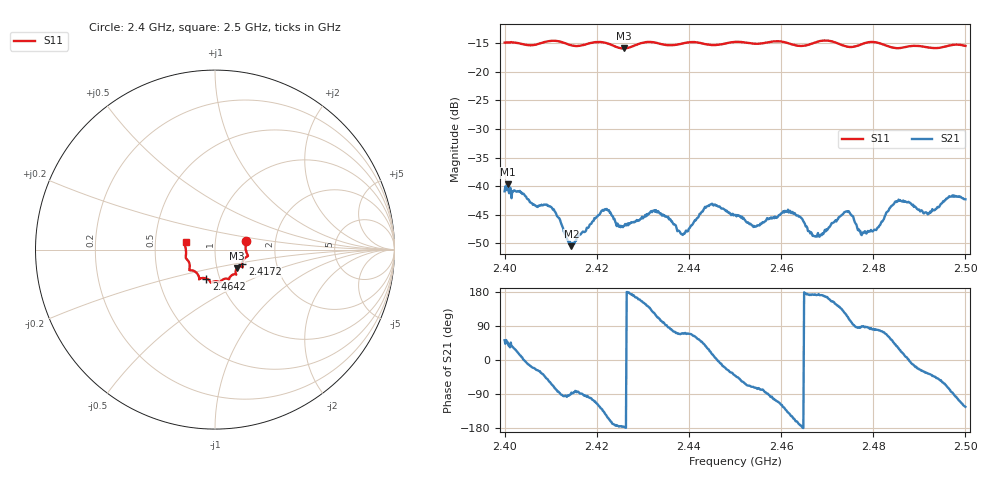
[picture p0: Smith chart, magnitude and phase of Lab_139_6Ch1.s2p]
# Hz S RI R 50
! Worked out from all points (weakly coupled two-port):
!   601 points, 2.4 GHz to 2.5 GHz, reference 50 ohm
!   highest |S21| = -39.68 dB at 2.4007 GHz (marker M1); lowest = -50.5 dB at 2.4145 GHz (marker M2)
!   lowest |S11| = -15.9 dB at 2.4258 GHz (marker M3), VSWR 1.38, Z = 62.3 - j13.3 ohm
!   |S11| at or under -10 dB: start of sweep to end of sweep
!   S12 and S22 are empty: the file has one direction only
!   S11 on the Smith chart (normalised r, x): 2.4 GHz: 1.41, +0.14; 2.4172 GHz: 1.34, -0.22; 2.4642 GHz: 0.86, -0.29; 2.5 GHz: 0.72, +0.06
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2.4e9  0.1734 0.049  0.00554 0.0071  0 0  0 0
2.400667e9  0.175 0.0453  0.0071 0.00757  0 0  0 0
2.410167e9  0.1838 -0.0338  0.00289 -0.00586  0 0  0 0
2.4145e9  0.1629 -0.0509  0.000196 -0.00298  0 0  0 0
2.416667e9  0.1529 -0.0742  9.54e-05 -0.00386  0 0  0 0
2.417167e9  0.1521 -0.08  -0.000213 -0.00396  0 0  0 0
2.421667e9  0.1529 -0.0958  -0.0047 -0.0041  0 0  0 0
2.425833e9  0.122 -0.1039  -0.00447 -0.000331  0 0  0 0
2.433333e9  0.1128 -0.1373  -0.00228 0.0056  0 0  0 0
2.438667e9  0.0808 -0.1578  0.00124 0.00353  0 0  0 0
2.4445e9  0.0596 -0.1615  0.00629 0.00273  0 0  0 0
2.45e9  0.0285 -0.1807  0.00419 -0.00368  0 0  0 0
2.454167e9  0.00893 -0.1762  0.00133 -0.00428  0 0  0 0
2.461e9  -0.0265 -0.1787  -0.00394 -0.00448  0 0  0 0
2.464167e9  -0.048 -0.1616  -0.00533 -0.000705  0 0  0 0
2.466667e9  -0.0763 -0.1592  -0.00383 0.000504  0 0  0 0
2.474167e9  -0.0987 -0.1342  -0.00291 0.00527  0 0  0 0
2.477167e9  -0.128 -0.1158  0.000356 0.00405  0 0  0 0
2.480167e9  -0.1433 -0.1126  0.000658 0.00409  0 0  0 0
2.483333e9  -0.1406 -0.0898  0.0029 0.0054  0 0  0 0
2.492e9  -0.1614 -0.0255  0.00468 -0.00341  0 0  0 0
2.5e9  -0.1633 0.0425  -0.00425 -0.00639  0 0  0 0
